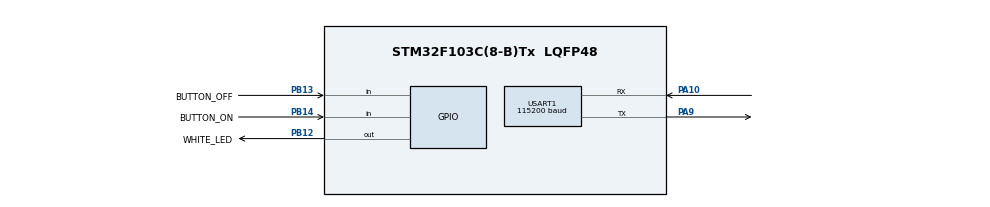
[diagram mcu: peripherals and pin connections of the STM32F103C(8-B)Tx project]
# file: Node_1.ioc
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FREERTOS.Tasks01=defaultTask,24,128,StartDefaultTask,Default,NULL,Dynamic,NULL,NULL;myReceiveTask,8,128,ReceiveTask,Default,NULL,Dynamic,NULL,NULL;mySendTask,8,128,SendTask,Default,NULL,Dynamic,NULL,NULL
FREERTOS.configUSE_NEWLIB_REENTRANT=1
Mcu.Family=STM32F1
Mcu.Name=STM32F103C(8-B)Tx
Mcu.Package=LQFP48
NVIC.PriorityGroup=NVIC_PRIORITYGROUP_4
PA10.Mode=Asynchronous
PA10.Signal=USART1_RX
PA13.Mode=Serial_Wire
PA13.Signal=SYS_JTMS-SWDIO
PA14.Mode=Serial_Wire
PA14.Signal=SYS_JTCK-SWCLK
PA9.Mode=Asynchronous
PA9.Signal=USART1_TX
PB12.GPIO_Label=WHITE_LED
PB12.Signal=GPIO_Output
PB13.GPIO_Label=BUTTON_OFF
PB13.Signal=GPIO_Input
PB14.GPIO_Label=BUTTON_ON
PB14.Signal=GPIO_Input
PD0-OSC_IN.Mode=HSE-External-Oscillator
PD0-OSC_IN.Signal=RCC_OSC_IN
PD1-OSC_OUT.Mode=HSE-External-Oscillator
PD1-OSC_OUT.Signal=RCC_OSC_OUT
ProjectManager.HeapSize=0x200
ProjectManager.StackSize=0x400
ProjectManager.TargetToolchain=STM32CubeIDE
RCC.APB1Freq_Value=8000000
RCC.APB2Freq_Value=8000000
RCC.PLLSourceVirtual=RCC_PLLSOURCE_HSE
RCC.SYSCLKSource=RCC_SYSCLKSOURCE_HSE
RCC.USBFreq_Value=16000000
USART1.BaudRate=115200
USART1.VirtualMode=VM_ASYNC
VP_FREERTOS_VS_CMSIS_V2.Mode=CMSIS_V2
board=custom

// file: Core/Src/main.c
/* USER CODE BEGIN Header */
/**
  ******************************************************************************
  * @file           : main.c
  * @brief          : Main program body
  ******************************************************************************
  * @attention
  *
  * Copyright (c) 2023 STMicroelectronics.
  * All rights reserved.
  *
  * This software is licensed under terms that can be found in the LICENSE file
  * in the root directory of this software component.
  * If no LICENSE file comes with this software, it is provided AS-IS.
  *
  ******************************************************************************
  */
/* USER CODE END Header */
#include "main.h"
#include "cmsis_os.h"
#include "usart.h"
#include "gpio.h"

void SystemClock_Config(void);
void MX_FREERTOS_Init(void);

int main(void)
{

  /* MCU Configuration--------------------------------------------------------*/

  /* Reset of all peripherals, Initializes the Flash interface and the Systick. */
  HAL_Init();

  /* Configure the system clock */
  SystemClock_Config();

  /* Initialize all configured peripherals */
  MX_GPIO_Init();
  MX_USART1_UART_Init();

  /* Init scheduler */
  osKernelInitialize();  /* Call init function for freertos objects (in freertos.c) */
  MX_FREERTOS_Init();

  /* Start scheduler */
  osKernelStart();

  /* We should never get here as control is now taken by the scheduler */
  /* Infinite loop */
  /* USER CODE BEGIN WHILE */
  while (1)
  {
	  //HAL_Delay(1000);

    /* USER CODE END WHILE */

  }
}

void SystemClock_Config(void)
{
  RCC_OscInitTypeDef RCC_OscInitStruct = {0};
  RCC_ClkInitTypeDef RCC_ClkInitStruct = {0};

  /** Initializes the RCC Oscillators according to the specified parameters
  * in the RCC_OscInitTypeDef structure.
  */
  RCC_OscInitStruct.OscillatorType = RCC_OSCILLATORTYPE_HSE;
  RCC_OscInitStruct.HSEState = RCC_HSE_ON;
  RCC_OscInitStruct.PLL.PLLState = RCC_PLL_NONE;
  if (HAL_RCC_OscConfig(&RCC_OscInitStruct) != HAL_OK)
  {
    Error_Handler();
  }

  /** Initializes the CPU, AHB and APB buses clocks
  */
  RCC_ClkInitStruct.ClockType = RCC_CLOCKTYPE_HCLK|RCC_CLOCKTYPE_SYSCLK
                              |RCC_CLOCKTYPE_PCLK1|RCC_CLOCKTYPE_PCLK2;
  RCC_ClkInitStruct.SYSCLKSource = RCC_SYSCLKSOURCE_HSE;
  RCC_ClkInitStruct.AHBCLKDivider = RCC_SYSCLK_DIV1;
  RCC_ClkInitStruct.APB1CLKDivider = RCC_HCLK_DIV1;
  RCC_ClkInitStruct.APB2CLKDivider = RCC_HCLK_DIV1;

  if (HAL_RCC_ClockConfig(&RCC_ClkInitStruct, FLASH_LATENCY_0) != HAL_OK)
  {
    Error_Handler();
  }
}

void Error_Handler(void)
{
  __disable_irq();
  while (1)
  {
  }
}

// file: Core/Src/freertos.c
/* USER CODE BEGIN Header */
/**
 ******************************************************************************
 * File Name          : freertos.c
 * Description        : Code for freertos applications
 ******************************************************************************
 * @attention
 *
 * Copyright (c) 2023 STMicroelectronics.
 * All rights reserved.
 *
 * This software is licensed under terms that can be found in the LICENSE file
 * in the root directory of this software component.
 * If no LICENSE file comes with this software, it is provided AS-IS.
 *
 ******************************************************************************
 */
/* USER CODE END Header */

#include "FreeRTOS.h"
#include "task.h"
#include "main.h"
#include "cmsis_os.h"

/* USER CODE BEGIN Includes */
#include <stdio.h>
/* USER CODE END Includes */

/* USER CODE BEGIN Variables */
extern UART_HandleTypeDef huart1;
const uint8_t Payload_On[] = {'N'};
const uint8_t Payload_Off[] = {'F'};
uint8_t operation = 0;

/* USER CODE END Variables */
/* Definitions for defaultTask */
osThreadId_t defaultTaskHandle;
const osThreadAttr_t defaultTask_attributes = { .name = "defaultTask",
		.stack_size = 128 * 4, .priority = (osPriority_t) osPriorityNormal, };
/* Definitions for myReceiveTask */
osThreadId_t myReceiveTaskHandle;
const osThreadAttr_t myReceiveTask_attributes = { .name = "myReceiveTask",
		.stack_size = 128 * 4, .priority = (osPriority_t) osPriorityLow, };
/* Definitions for mySendTask */
osThreadId_t mySendTaskHandle;
const osThreadAttr_t mySendTask_attributes = { .name = "mySendTask",
		.stack_size = 128 * 4, .priority = (osPriority_t) osPriorityLow, };

void StartDefaultTask(void *argument);
void ReceiveTask(void *argument);
void SendTask(void *argument);

void MX_FREERTOS_Init(void); /* (MISRA C 2004 rule 8.1) */

void MX_FREERTOS_Init(void) {

	/* Create the thread(s) */
	/* creation of defaultTask */
	defaultTaskHandle = osThreadNew(StartDefaultTask, NULL,
			&defaultTask_attributes);

	/* creation of myReceiveTask */
	myReceiveTaskHandle = osThreadNew(ReceiveTask, NULL,
			&myReceiveTask_attributes);

	/* creation of mySendTask */
	mySendTaskHandle = osThreadNew(SendTask, NULL, &mySendTask_attributes);

}

void StartDefaultTask(void *argument) {
	/* USER CODE BEGIN StartDefaultTask */
	/* Infinite loop */
	for (;;) {
		osDelay(1000);
	}
	/* USER CODE END StartDefaultTask */
}

void ReceiveTask(void *argument) {
	/* USER CODE BEGIN ReceiveTask */
	/* Infinite loop */
	for (;;) {
		osDelay(1000);
	}
	/* USER CODE END ReceiveTask */
}

void SendTask(void *argument) {
	/* USER CODE BEGIN SendTask */
	/* Infinite loop */
	for (;;) {
		if (operation == 0) {
			operation = 1;
			HAL_UART_Transmit(&huart1, Payload_On, 1, 10);
		} else {
			operation = 0;
			HAL_UART_Transmit(&huart1, Payload_Off, 1, 10);
		}
		HAL_GPIO_TogglePin(WHITE_LED_GPIO_Port, WHITE_LED_Pin);

		osDelay(500);
	}
	/* USER CODE END SendTask */
}
